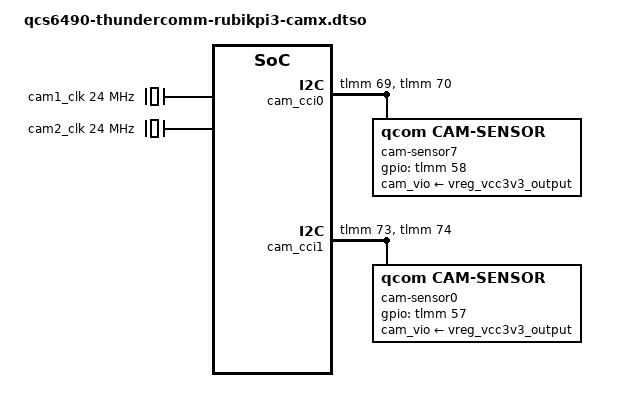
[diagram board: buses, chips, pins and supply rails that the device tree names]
// SPDX-License-Identifier: BSD-3-Clause
/*
 * Copyright (c) 2026, Thundercomm. All rights reserved.
 */

/dts-v1/;
/plugin/;

#include <dt-bindings/clock/qcom,camcc-sc7280.h>
#include <dt-bindings/clock/qcom,gcc-sc7280.h>
#include <dt-bindings/gpio/gpio.h>
#include <dt-bindings/interconnect/qcom,sc7280.h>
#include <dt-bindings/interrupt-controller/arm-gic.h>
#include <dt-bindings/power/qcom-rpmpd.h>

#include "qcs6490-camera.dtsi"

&{/} {
	/* Each supported Raspberry Pi camera module has its own oscillator. */
	cam1_clk: clock-camera1-24m {
		compatible = "fixed-clock";
		#clock-cells = <0>;
		clock-frequency = <24000000>;
	};

	cam2_clk: clock-camera2-24m {
		compatible = "fixed-clock";
		#clock-cells = <0>;
		clock-frequency = <24000000>;
	};
};

&cam_cci0 {
	/* CAM2 uses CCI0 master 0. */
	gpios = <&tlmm 69 GPIO_ACTIVE_HIGH>, <&tlmm 70 GPIO_ACTIVE_HIGH>;
	pinctrl-0 = <&cci0_active>;
	pinctrl-1 = <&cci0_suspend>;

	gpio-req-tbl-flags = <1 1>;
	gpio-req-tbl-label = "CCI_I2C_DATA0", "CCI_I2C_CLK0";
	gpio-req-tbl-num = <0 1>;

	cam-sensor7 {
		compatible = "qcom,cam-sensor";
		cam_vio-supply = <&vreg_vcc3v3_output>;
		clocks = <&cam2_clk>;
		clock-names = "cam_clk";
		gpios = <&tlmm 58 GPIO_ACTIVE_HIGH>;
		pinctrl-0 = <&cam2_pwr_en>;
		pinctrl-1 = <&cam2_pwr_en>;
		pinctrl-names = "cam_default", "cam_suspend";
		power-domains = <&camcc CAM_CC_TITAN_TOP_GDSC>;

		cci-master = <0>;
		cell-index = <7>;
		clock-cntl-level = "nominal";
		clock-rates = <24000000>;
		csiphy-sd-index = <4>;
		gpio-req-tbl-flags = <0>; /* Output, initially low */
		gpio-req-tbl-label = "CAM2_PWR_EN";
		gpio-req-tbl-num = <0>;
		gpio-vio = <0>;
		regulator-names = "cam_vio";
		rgltr-cntrl-support;
		rgltr-load-current = <0>;
		rgltr-max-voltage = <3300000>;
		rgltr-min-voltage = <3300000>;
	};
};

&cam_cci1 {
	/* CAM1 uses CCI1 master 0. */
	gpios = <&tlmm 73 GPIO_ACTIVE_HIGH>, <&tlmm 74 GPIO_ACTIVE_HIGH>;
	pinctrl-0 = <&cci2_active>;
	pinctrl-1 = <&cci2_suspend>;

	gpio-req-tbl-flags = <1 1>;
	gpio-req-tbl-label = "CCI_I2C_DATA2", "CCI_I2C_CLK2";
	gpio-req-tbl-num = <0 1>;

	cam-sensor0 {
		compatible = "qcom,cam-sensor";
		cam_vio-supply = <&vreg_vcc3v3_output>;
		clocks = <&cam1_clk>;
		clock-names = "cam_clk";
		gpios = <&tlmm 57 GPIO_ACTIVE_HIGH>;
		pinctrl-0 = <&cam1_pwr_en>;
		pinctrl-1 = <&cam1_pwr_en>;
		pinctrl-names = "cam_default", "cam_suspend";
		power-domains = <&camcc CAM_CC_TITAN_TOP_GDSC>;

		cci-master = <0>;
		cell-index = <0>;
		clock-cntl-level = "nominal";
		clock-rates = <24000000>;
		csiphy-sd-index = <1>;
		gpio-req-tbl-flags = <0>; /* Output, initially low */
		gpio-req-tbl-label = "CAM1_PWR_EN";
		gpio-req-tbl-num = <0>;
		gpio-vio = <0>;
		regulator-names = "cam_vio";
		rgltr-cntrl-support;
		rgltr-load-current = <0>;
		rgltr-max-voltage = <3300000>;
		rgltr-min-voltage = <3300000>;
	};
};

/* Native CAMSS/CCI and CamX share hardware resources. */
&camss {
	status = "disabled";
};

&cci0 {
	status = "disabled";
};

&cci1 {
	status = "disabled";
};

&soc {
	cam-res-mgr {
		compatible = "qcom,cam-res-mgr";
	};
};

&tlmm {
	/* Keep PWR_EN in GPIO mode in both sensor pinctrl states. */
	cam1_pwr_en: cam1-pwr-en-state {
		bias-disable;
		drive-strength = <8>;
		function = "gpio";
		pins = "gpio57";
	};

	cam2_pwr_en: cam2-pwr-en-state {
		bias-disable;
		drive-strength = <8>;
		function = "gpio";
		pins = "gpio58";
	};
};
